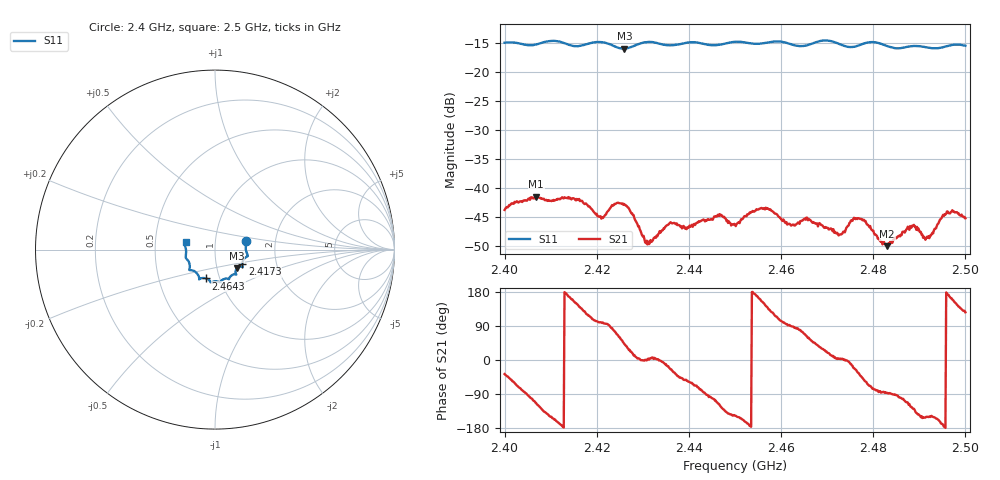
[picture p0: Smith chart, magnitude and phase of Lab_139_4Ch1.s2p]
# Hz S RI R 50
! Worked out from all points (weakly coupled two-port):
!   601 points, 2.4 GHz to 2.5 GHz, reference 50 ohm
!   highest |S21| = -41.45 dB at 2.4068 GHz (marker M1); lowest = -50.0 dB at 2.483 GHz (marker M2)
!   lowest |S11| = -15.9 dB at 2.426 GHz (marker M3), VSWR 1.38, Z = 62.1 - j13.4 ohm
!   |S11| at or under -10 dB: start of sweep to end of sweep
!   S12 and S22 are empty: the file has one direction only
!   S11 on the Smith chart (normalised r, x): 2.4 GHz: 1.41, +0.14; 2.4173 GHz: 1.34, -0.23; 2.4643 GHz: 0.86, -0.29; 2.5 GHz: 0.72, +0.06
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2.4e9  0.1734 0.049  0.00518 -0.00392  0 0  0 0
2.406833e9  0.1734 -0.0083  -0.00336 -0.00777  0 0  0 0
2.416667e9  0.1528 -0.0741  -0.00562 0.00539  0 0  0 0
2.417333e9  0.1521 -0.0816  -0.00456 0.00571  0 0  0 0
2.421e9  0.1543 -0.097  -0.000849 0.0054  0 0  0 0
2.426e9  0.1207 -0.1052  0.00532 0.00482  0 0  0 0
2.430833e9  0.1187 -0.1387  0.00353 -7.65e-05  0 0  0 0
2.433333e9  0.1127 -0.1373  0.00402 0.00013  0 0  0 0
2.436167e9  0.0927 -0.1436  0.00457 -0.0021  0 0  0 0
2.446667e9  0.0426 -0.1677  -0.00287 -0.00525  0 0  0 0
2.45e9  0.0289 -0.1813  -0.00404 -0.00262  0 0  0 0
2.455833e9  -0.00546 -0.1773  -0.00609 0.00292  0 0  0 0
2.464333e9  -0.0495 -0.1608  0.00122 0.00506  0 0  0 0
2.466667e9  -0.0759 -0.1593  0.00329 0.00393  0 0  0 0
2.472833e9  -0.0907 -0.1488  0.00399 0.00025  0 0  0 0
2.477333e9  -0.1296 -0.1153  0.00401 -0.00367  0 0  0 0
2.483e9  -0.1404 -0.0934  0.000155 -0.00316  0 0  0 0
2.483333e9  -0.1405 -0.0898  8.75e-05 -0.00335  0 0  0 0
2.4885e9  -0.1616 -0.0476  -0.00286 -0.00381  0 0  0 0
2.491833e9  -0.1613 -0.0272  -0.00325 -0.00185  0 0  0 0
2.496e9  -0.167 0.0195  -0.00629 0.000566  0 0  0 0
2.5e9  -0.1639 0.0428  -0.00323 0.00446  0 0  0 0
